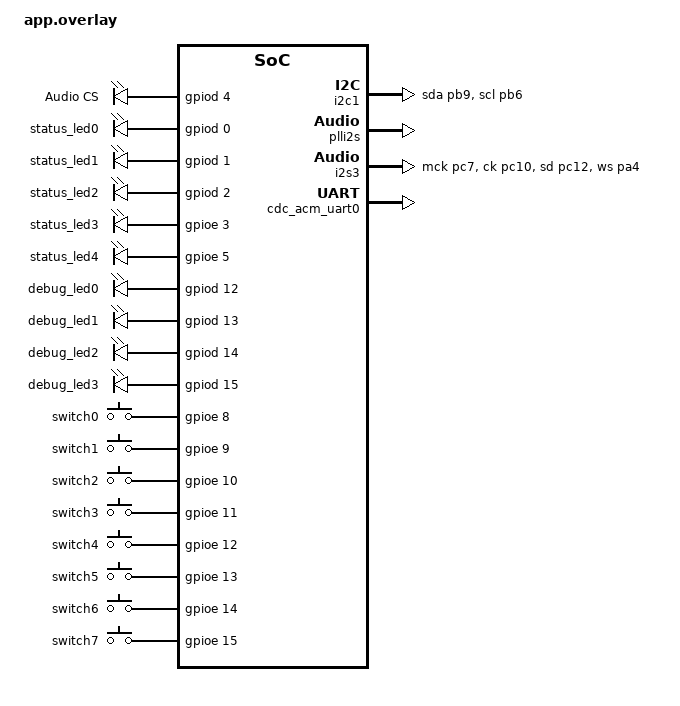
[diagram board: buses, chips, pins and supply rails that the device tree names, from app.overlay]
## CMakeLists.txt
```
cmake_minimum_required(VERSION 3.20.0)

set(BOARD stm32f4_disco)
set(CONF_FILE prj.conf)
find_package(Zephyr)
project(my_zephyr_app)

target_sources(app PRIVATE
        src/audio.cpp
        src/leds.cpp
        src/usb.c
        src/Switch.cpp
        src/key.cpp
        src/i2c.c
        src/peripherals.cpp
        src/synth.cpp
        src/main.cpp
)
```

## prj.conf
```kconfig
CONFIG_CONSOLE=y
CONFIG_I2C=y
CONFIG_I2S=y
CONFIG_NEWLIB_LIBC=y
CONFIG_STDOUT_CONSOLE=y
CONFIG_USB_DEVICE_STACK=y
CONFIG_USB_DEVICE_PRODUCT="Zephyr CDC ACM sample"
CONFIG_USB_DEVICE_PID=0x0001
CONFIG_SERIAL=y
CONFIG_UART_INTERRUPT_DRIVEN=y
CONFIG_UART_LINE_CTRL=y
CONFIG_CPP=y
CONFIG_EVENTS=y
CONFIG_CMSIS_DSP=y
CONFIG_FPU=y
CONFIG_CMSIS_DSP_TRANSFORM=y
CONFIG_CMSIS_DSP_FILTERING=y
CONFIG_SYS_CLOCK_TICKS_PER_SEC=25000
```

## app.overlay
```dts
&i2c1 {
	pinctrl-0 = <&i2c1_sda_pb9 &i2c1_scl_pb6>;
	pinctrl-names = "default";
	status = "okay";
};

/ {
	chip_selects {
		compatible = "gpio-leds";

		audio_cs: cs_0 {
			gpios = <&gpiod 4 GPIO_ACTIVE_HIGH>;
			label = "Audio CS";
		};
	};

	leds {
		compatible = "gpio-leds";

		status_led0: led_0 {
			gpios = <&gpiod 0 GPIO_ACTIVE_HIGH>;
		};

		status_led1: led_1 {
			gpios = <&gpiod 1 GPIO_ACTIVE_HIGH>;
		};

		status_led2: led_2 {
			gpios = <&gpiod 2 GPIO_ACTIVE_HIGH>;
		};

		status_led3: led_3 {
			gpios = <&gpioe 3 GPIO_ACTIVE_HIGH>;
		};

		status_led4: led_4 {
			gpios = <&gpioe 5 GPIO_ACTIVE_HIGH>;
		};

		debug_led0: led_5 {
			gpios = <&gpiod 12 GPIO_ACTIVE_HIGH>;
		};

		debug_led1: led_6 {
			gpios = <&gpiod 13 GPIO_ACTIVE_HIGH>;
		};

		debug_led2: led_7 {
			gpios = <&gpiod 14 GPIO_ACTIVE_HIGH>;
		};

		debug_led3: led_8 {
			gpios = <&gpiod 15 GPIO_ACTIVE_HIGH>;
		};
	};

	buttons {
		compatible = "gpio-keys";

		switch0: button_0 {
			gpios = <&gpioe 8 GPIO_ACTIVE_HIGH>;
		};

		switch1: button_1 {
			gpios = <&gpioe 9 GPIO_ACTIVE_HIGH>;
		};

		switch2: button_2 {
			gpios = <&gpioe 10 GPIO_ACTIVE_HIGH>;
		};

		switch3: button_3 {
			gpios = <&gpioe 11 GPIO_ACTIVE_HIGH>;
		};

		switch4: button_4 {
			gpios = <&gpioe 12 GPIO_ACTIVE_HIGH>;
		};

		switch5: button_5 {
			gpios = <&gpioe 13 GPIO_ACTIVE_HIGH>;
		};

		switch6: button_6 {
			gpios = <&gpioe 14 GPIO_ACTIVE_HIGH>;
		};

		switch7: button_7 {
			gpios = <&gpioe 15 GPIO_ACTIVE_HIGH>;
		};
	};

	aliases {
		cs0 = &audio_cs;
		status-led0 = &status_led0;
		status-led1 = &status_led1;
		status-led2 = &status_led2;
		status-led3 = &status_led3;
		status-led4 = &status_led4;
		debug-led0 = &debug_led0;
		debug-led1 = &debug_led1;
		debug-led2 = &debug_led2;
		debug-led3 = &debug_led3;
		switch0 = &switch0;
		switch1 = &switch1;
		switch2 = &switch2;
		switch3 = &switch3;
		switch4 = &switch4;
		switch5 = &switch5;
		switch6 = &switch6;
		switch7 = &switch7;
	};
};

&dma1 {
	status = "okay";
};

&plli2s {
	status = "okay";
	mul-n = <338>;
	div-r = <3>;
};

i2s_tx: &i2s3 {
	pinctrl-0 = <&i2s3_mck_pc7 &i2s3_ck_pc10 &i2s3_sd_pc12 &i2s3_ws_pa4>;
	pinctrl-names = "default";
	status = "okay";
	clocks = <&rcc STM32_CLOCK_BUS_APB1 0x00008000>,
			 <&rcc STM32_SRC_PLLI2S_R I2S_SEL(0)>;
	mck-enabled;
};

&zephyr_udc0 {
	cdc_acm_uart0 {
		compatible = "zephyr,cdc-acm-uart";
	};
};
```

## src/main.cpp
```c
/*
 * Copyright (c) 2016 Intel Corporation
 *
 * SPDX-License-Identifier: Apache-2.0
 */

#include "Switch.hpp"
#include "audio.h"
#include "key.hpp"
#include "leds.h"
#include "peripherals.h"
#include "synth.hpp"
#include "usb.h"
#include <inttypes.h>
#include <math.h>
#include <zephyr/sys/time_units.h>
#include <zephyr/kernel.h>
#include <zephyr/logging/log.h>

Synthesizer synth;
// Function that checks key presses
static void check_keyboard()
{
	char character;
	while (usbRead(&character, 1)) {
		// ////printuln("Key pressed: %c (0x%02x)", character, character);
		auto key = Key::char_to_key(character);
		bool key_pressed = false;

		for (int i = 0; i < MAX_KEYS; i++) {
			if (key == keys[i].key && keys[i].state != IDLE) {
				keys[i].state = PRESSED;
				keys[i].hold_time = sys_timepoint_calc(K_MSEC(500));
				keys[i].release_time = sys_timepoint_calc(K_MSEC(500));
				key_pressed = true;
			}
		}
		// The second loop is necessary to avoid selecting an IDLE key when a
		// PRESSED or RELEASED key is located further away on the array
		if (!key_pressed) {
			for (int i = 0; i < MAX_KEYS; i++) {
				if (keys[i].state == IDLE) {
					keys[i].key = key;
					keys[i].state = PRESSED;
					keys[i].hold_time = sys_timepoint_calc(K_MSEC(500));
					keys[i].release_time = sys_timepoint_calc(K_MSEC(500));
					keys[i].phase1 = 0;
					keys[i].phase2 = 0;
					break;
				}
			}
		}
	}
}

/*
Do we need negative priorities?
Negative priorities do not allow preemption between them.
While positive does allow for preemption.
Should T4 preemp T1-T2 as well as T3?
We should bare in mind, that while, T4 is writing to the audio device, other tasks can run
Inside audio.cpp when task 4 is writing blocks to the i2s device, the current thread
will block, which explains:
- why the LEDS will stay for such a long time
- why the other tasks will run while T4 is high(the leds) in Logic2
- which also explains why t3 cant run while t4 is blocked, because t4 is holding the
   semaphore for blockmem Why does t4 block for so long when no sound is being produced?
   - The distance between a t4 call when no keys are pressed is of around 3ms, with a
   total duration of 47ms
   - Comapred to when a key is pressed, the distance between two t4 is of around 15ms
   with a total duration of 35ms
   - What does this mean?
   Blocking time depends on when task 4 calls i2s_write() relative to the how
   long it takes to read a block, not on whether the audio. The I2S bus clocks at a fixed rate
   */
#define TASK_1_2_STACK_SIZE 2048
#define TASK_3_STACK_SIZE   1024
#define TASK_4_STACK_SIZE   1024
#define TASK_1_2_PRIORITY   1
#define TASK_3_PRIORITY     2
#define TASK_4_PRIORITY     0

K_THREAD_STACK_DEFINE(task_1_2_stack, TASK_1_2_STACK_SIZE);
K_THREAD_STACK_DEFINE(task_3_stack, TASK_3_STACK_SIZE);
K_THREAD_STACK_DEFINE(task_4_stack, TASK_4_STACK_SIZE);

static struct k_thread task_1_2_thread;
static struct k_thread task_3_thread;
static struct k_thread task_4_thread;
static k_timepoint_t expiration;

// Audio blocks passed from T3 to T4
K_MSGQ_DEFINE(audio_block_msgq, sizeof(void *), BLOCK_COUNT, sizeof(void *));

extern "C" void task_1_2_thread_entry(void *p1, void *p2, void *p3)
{
	int period = static_cast<int>(reinterpret_cast<intptr_t>(p1));
	k_msgq *q = static_cast<k_msgq*>(p2);
 	expiration = sys_timepoint_calc(K_MSEC(period));
	while (1) {

		// T1
		set_led(&debug_led0);
		peripherals_update();
		reset_led(&debug_led0);

		k_timeout_t to_exp = sys_timepoint_timeout(expiration);
		int64_t delta_ms = k_ticks_to_ms_floor64(to_exp.ticks);
		// T2
		set_led(&debug_led1);
		check_keyboard();             
		reset_led(&debug_led1);

		k_timeout_t sleep_timeout = sys_timepoint_timeout(expiration);
		int64_t sleep_us = k_ticks_to_us_floor64(sleep_timeout.ticks);
		k_sleep(K_USEC(sleep_us - 480));
		k_busy_wait(480);
		expiration = sys_timepoint_calc(K_MSEC(period));
	}
}

extern "C" void task_3_thread_entry(void *p1, void *p2, void *p3)
{
	k_msgq *audio_q = static_cast<k_msgq*>(p2);
	k_msgq *q = static_cast<k_msgq*>(p3);

	static bool overload_next = false;
	while (1) {
		k_timepoint_t frame_deadline = expiration;
		bool show_overload = overload_next;
		k_timeout_t sleep_timeout;
		uint64_t sleep_ms;

		if (show_overload) {
			set_led(&debug_led2);
		}

		void *mem_block = allocBlock();

		if (mem_block == nullptr) {
			if (show_overload) {
				reset_led(&debug_led2);
			}
			overload_next = true;
			continue;
		}

		bool overloaded = false;
		overloaded = synth.makesynth(static_cast<uint8_t *>(mem_block), frame_deadline);
		if (show_overload) {
			reset_led(&debug_led2);
		}
		overload_next = overloaded;

		k_msgq_put(audio_q, &mem_block, K_FOREVER);

		if (sys_timepoint_expired(frame_deadline)) {
			//printuln("T3 missed deadline");
		}

		sleep_timeout = sys_timepoint_timeout(expiration);
		sleep_ms = k_ticks_to_ms_floor64(sleep_timeout.ticks);
		k_sleep(sleep_timeout);
	}
}

extern "C" void task_4_thread_entry(void *p1, void *p2, void *p3)
{
	k_msgq *audio_q = static_cast<k_msgq*>(p2);
    while (1) {
		void *mem_block = nullptr;
		k_msgq_get(audio_q, &mem_block, K_FOREVER);
		set_led(&debug_led3);
		writeBlock(mem_block);
        reset_led(&debug_led3);    
	}
}

void start_threads()
{
	int period_task12_ms = BLOCK_GEN_PERIOD_MS;
	int period_task3_ms = BLOCK_GEN_PERIOD_MS;

	k_thread_create(&task_1_2_thread, task_1_2_stack, K_THREAD_STACK_SIZEOF(task_1_2_stack),
			task_1_2_thread_entry,
			reinterpret_cast<void *>(static_cast<intptr_t>(period_task12_ms)), 
			nullptr, nullptr, TASK_1_2_PRIORITY, 0, K_NO_WAIT);

	k_thread_create(&task_3_thread, task_3_stack, K_THREAD_STACK_SIZEOF(task_3_stack),
			task_3_thread_entry,
			reinterpret_cast<void *>(static_cast<intptr_t>(period_task3_ms)), &audio_block_msgq,
			nullptr, TASK_3_PRIORITY, 0, K_NO_WAIT);
		

	k_thread_create(&task_4_thread, task_4_stack, K_THREAD_STACK_SIZEOF(task_4_stack),
			task_4_thread_entry,
			reinterpret_cast<void *>(static_cast<intptr_t>(10)), &audio_block_msgq,
			nullptr, TASK_4_PRIORITY, 0, K_NO_WAIT);
}

int main(void)
{
	initUsb();
	waitForUsb();

	//printuln("== Initializing... ==");

	init_leds();
	initAudio();
	init_peripherals();

	synth.initialize();

	// Buffer for writing to audio driver

	//printuln("== Finished initialization ==");

	int64_t time = k_uptime_get();
	int state = 0;
	/*
		Task Priorities:
		T4, always something being sent to the ampliefier
			Period
		T2, Latency when pressing a key should be minimal
		T1, Polling peripherals is not time critical
		T3, Synth generation can take some time, but not critical
	*/
	start_threads();
    k_thread_join(&task_1_2_thread,  K_FOREVER);
    k_thread_join(&task_3_thread,    K_FOREVER);
    k_thread_join(&task_4_thread,    K_FOREVER);

	return 0;
}
```

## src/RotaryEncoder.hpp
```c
#ifndef __ROTARY_ENCODER_H__
#define __ROTARY_ENCODER_H__

#include "usb.h"
#include <errno.h>

class RotaryEncoder {
public:
  // Encoder's callback type definition, called when the encoder changes its
  // state
  typedef void (*re_callback)(RotaryEncoder &encoder);

  /// @brief Encoder's constructor
  /// @param id encoder's ID, from 0 to N_ENCODERS
  /// @param pin_0 initialization value of pin 0
  /// @param pin_1 initialization value of pin 0
  /// @param absolute_value absolute initialization value
  /// @param callback the callback that is called when the encoder changes its
  /// state. Default: no callback
  RotaryEncoder(uint8_t id, unsigned int pin_0, unsigned int pin_1,
                int absolute_value = 0, re_callback callback = nullptr)
      : _id{id}, _pin_0{pin_0}, _pin_1{pin_1}, _absolute_value{absolute_value},
        _callback{callback} {}

  /// @brief Default encoder's constructor
  RotaryEncoder()
      : _id{0}, _pin_0{0}, _pin_1{0}, _absolute_value{0}, _callback{nullptr} {}

  /// @brief Encoder initialization function
  /// Call this function during initialization before calling the rest of the
  /// fuctions if you have used the default constuctor
  /// @param id encoder's ID, from 0 to N_ENCODERS
  /// @param pin_0 initialization value of pin 0
  /// @param pin_1 initialization value of pin 1
  /// @param absolute_value absolute initialization value
  /// @param callback the callback that is called when the encoder changes its
  /// state. Default: no callback
  void initialize(uint8_t id, unsigned int pin_0, unsigned int pin_1,
                  re_callback callback = nullptr) {
    _id = id;
    _pin_0 = pin_0;
    _pin_1 = pin_1;
    _callback = callback;
  }

  /// @brief Reset to 0 the encoder's absolute value
  void reset() { _absolute_value = 0; }

  /// @brief Get the encoder's absolute value
  /// @return the encoder's absolute value
  int get_state() { return _absolute_value; }

  /// @brief Get the encoder's absolute value
  /// @param state he encoder's new absolute value
  void set_state(int state) { _absolute_value = state; }

  /// @brief Clamp and set the new absolute value
  /// @param state the new absolute value
  /// @param min minimum clamping value
  /// @param max maximum clamping value
  void set_state_clamped(int state, int min, int max) {
    int tmp = state;

    if (tmp > max) {
      tmp = max;
    } else if (tmp < min) {
      tmp = min;
    }

    _absolute_value = tmp;
  }

  /// @brief Get the encoder's pin 0 value
  /// @return the encoder's pin 0 value
  unsigned int get_pin0() { return _pin_0; }

  /// @brief Get the encoder's pin 1 value
  /// @return the encoder's pin 1 value
  unsigned int get_pin1() { return _pin_1; }

  /// @brief Set the encoder's callback
  /// @param callback the encoder's callback
  void set_callback(re_callback callback) { _callback = callback; }

  /// @brief Set a new value for pin 0
  /// @param pin_0
  /// @return 0 on success, -ERRNO otherwise
  int update_pin_0(int pin_0) { return update(pin_0, _pin_1); }

  /// @brief Set a new value for pin 1
  /// @param pin_1
  /// @return 0 on success, -ERRNO otherwise
  int update_pin_1(int pin_1) { return update(_pin_0, pin_1); }

  /// @brief Update the encoder's state
  /// @param pin_0
  /// @param pin_1
  /// @return 0 on success, -ERRNO otherwise
  int update(unsigned int pin_0, unsigned int pin_1) {
    // Check for invalid state
    if (((pin_0 != _pin_0) && (pin_1 != _pin_1)) || pin_0 > 1 || pin_1 > 1) {
      return -EINVAL;
    } else if ((pin_0 == _pin_0) && (pin_1 == _pin_1)) {
      return 0;
    }

    int past_value = _pin_0 + _pin_1 * 2;
    int new_value = pin_0 + pin_1 * 2;
    _pin_0 = pin_0;
    _pin_1 = pin_1;

    // Update the state machine
    switch (past_value) {
    case 0:
      if (new_value == 1)
        _absolute_value++;
      else if (new_value == 2)
        _absolute_value--;
      break;
    case 1:
      if (new_value == 3)
        _absolute_value++;
      else if (new_value == 0)
        _absolute_value--;
      break;
    case 2:
      if (new_value == 0)
        _absolute_value++;
      else if (new_value == 3)
        _absolute_value--;
      break;
    case 3:
      if (new_value == 2)
        _absolute_value++;
      else if (new_value == 1)
        _absolute_value--;
      break;
    default:
      break;
    }

    if (_callback != nullptr)
      _callback(*this);

    return 0;
  }

public:
  uint8_t _id;
  unsigned int _pin_0;
  unsigned int _pin_1;
  int _absolute_value;
  re_callback _callback;
};

#endif // __ROTARY_ENCODER_H__
```

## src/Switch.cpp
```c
#include "Switch.hpp"
#include "usb.h"

#include <zephyr/drivers/gpio.h>

bool get_button(const struct gpio_dt_spec *button)
{
	return gpio_pin_get_dt(button);
}

int ThreePosSwitch::initialize(const struct gpio_dt_spec *up, const struct gpio_dt_spec *down,
			       sw3_callback callback)
{
	_callback = callback;
	_up = up;
	_down = down;

	// Configure the first GPIO
	if (!gpio_is_ready_dt(_up)) {
		printuln("GPIO up was not ready.");
		return -1;
	}
	gpio_pin_configure_dt(_up, GPIO_INPUT | GPIO_PULL_UP);

	// Configure the second GPIO
	if (!gpio_is_ready_dt(_down)) {
		printuln("GPIO down was not ready.");
		return -1;
	}
	gpio_pin_configure_dt(_down, GPIO_INPUT | GPIO_PULL_UP);

	return 0;
}

void ThreePosSwitch::update()
{
	// Get the new state
	bool up = gpio_pin_get_dt(_up);
	bool dn = gpio_pin_get_dt(_down);
	if (up == dn) {
		_current_state = Neutral;
	} else if (up) {
		_current_state = Up;
	} else {
		_current_state = Down;
	}

	// If the state is different, call the callback
	if (_current_state != _previous && _callback != nullptr) {
		printuln("Switch state changed.");
		_callback(*this);
	}

	// Update the invariant
	_previous = _current_state;
}
```

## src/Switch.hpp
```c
#ifndef __BUTTONS_H__
#define __BUTTONS_H__

enum ThreeWaySwitchState { Down = -1, Neutral = 0, Up = 1 };

class ThreePosSwitch {
public:
  // Switch's callback type definition, called when the switch changes its state
  typedef void (*sw3_callback)(ThreePosSwitch &sw);

  /// @brief Default constructor
  ThreePosSwitch()
      : _current_state{Neutral}, _previous{Neutral}, _callback{nullptr},
        _up{nullptr}, _down{nullptr} {}

  /// @brief Switch's initialization function
  /// Call this function during initialization before calling the rest of the
  /// fuctions
  /// @param up up pin hardware handler
  /// @param down down pin hardware handler
  /// @param callback the callback that is called when the switch changes its
  /// state. Default: no callback
  /// @return 0 on success, -ERRNO otherwise
  int initialize(const struct gpio_dt_spec *up, const struct gpio_dt_spec *down,
                 sw3_callback callback = nullptr);

  /// @brief Switch update function.
  void update();

  ThreeWaySwitchState _current_state;
  ThreeWaySwitchState _previous;
  sw3_callback _callback;
  const struct gpio_dt_spec *_up;
  const struct gpio_dt_spec *_down;
};

#endif // __BUTTONS_H__
```

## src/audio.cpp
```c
#include "audio.h"
#include "usb.h"
#include <inttypes.h>
#include <errno.h>
#include <stdint.h>
#include <string.h>
#include <zephyr/drivers/gpio.h>
#include <zephyr/drivers/i2c.h>
#include <zephyr/drivers/i2s.h>
#include <zephyr/kernel.h>
#include <zephyr/logging/log.h>

#define I2S_TX_NODE DT_NODELABEL(i2s_tx)
K_MEM_SLAB_DEFINE(mem_slab, BLOCK_SIZE, BLOCK_COUNT, BYTES_PER_SAMPLE);

/* 1000 msec = 1 sec */
#define SLEEP_TIME_MS 1000

/* The devicetree node identifier for the "led0" alias. */
#define LED0_NODE DT_ALIAS(led0)
#define AUDIO_CS  DT_ALIAS(cs0)

static const struct gpio_dt_spec cs = GPIO_DT_SPEC_GET(AUDIO_CS, gpios);
const struct device *const i2s_dev_tx = DEVICE_DT_GET(I2S_TX_NODE);
static bool i2s_started;

static int read(uint8_t devaddr, uint8_t regaddr, uint8_t *regval)
{
	int ret;

	const struct device *dev = DEVICE_DT_GET(DT_NODELABEL(i2c1));

	if (!device_is_ready(dev)) {
		printuln("Device not ready");
		return -ENODEV;
	}

	ret = i2c_write_read(dev, devaddr, &regaddr, 1, regval, 1);
	if (ret) {
		printuln("Call `i2c_write_read` failed: %d", ret);
		return ret;
	}

	return 0;
}

static int write(uint8_t devaddr, uint8_t regaddr, uint8_t regval)
{
	int ret;

	const struct device *dev = DEVICE_DT_GET(DT_NODELABEL(i2c1));

	if (!device_is_ready(dev)) {
		printuln("Device not ready");
		return -ENODEV;
	}

	uint8_t buf[2] = {regaddr, regval};

	ret = i2c_write(dev, buf, 2, devaddr);
	if (ret) {
		printuln("Call `i2c_write` failed: %d", ret);
		return ret;
	}

	return 0;
}

int restart_i2s_if_needed(void *mem_block)
{
	
	i2s_trigger(i2s_dev_tx, I2S_DIR_TX, I2S_TRIGGER_PREPARE);
	k_mem_slab_free(&mem_slab, mem_block);
	void *stub_block0 = nullptr;
	void *stub_block1 = nullptr;
	int alloc_ret0 = k_mem_slab_alloc(&mem_slab, &stub_block0, K_NO_WAIT);
	int alloc_ret1 = k_mem_slab_alloc(&mem_slab, &stub_block1, K_NO_WAIT);

	int ret0 = i2s_write(i2s_dev_tx, stub_block0, BLOCK_SIZE);
	if (ret0 < 0) {
		printuln("Failed to write stub block 0: %d", ret0);
		k_mem_slab_free(&mem_slab, stub_block0);
		k_mem_slab_free(&mem_slab, stub_block1);
	}
	int ret1 = i2s_write(i2s_dev_tx, stub_block1, BLOCK_SIZE);
	if (ret1 < 0) {
		printuln("Failed to write stub block 1: %d", ret1);
		i2s_trigger(i2s_dev_tx, I2S_DIR_TX, I2S_TRIGGER_DROP);
		k_mem_slab_free(&mem_slab, stub_block1);
	}

	int start_ret = i2s_trigger(i2s_dev_tx, I2S_DIR_TX, I2S_TRIGGER_START);
	if (start_ret < 0) {
		printuln("Failed to start I2S: %d", start_ret);
		i2s_trigger(i2s_dev_tx, I2S_DIR_TX, I2S_TRIGGER_DROP);
		i2s_started = false;
		return 0;
	}
	i2s_started = true;
	return 0;
}


void *allocBlock()
{
	void *mem_block;
	// printuln("[SLAB] free blocks: %u", k_mem_slab_num_free_get(&mem_slab));
	int ret = k_mem_slab_alloc(&mem_slab, &mem_block, K_MSEC(BLOCK_GEN_PERIOD_MS));
	if (ret < 0) {
		i2s_started = false;
		// printuln("Failed to allocate TX block: %d\n", ret);
		return nullptr;
	}
	return mem_block;
}

int initAudio()
{
	int ret;

	// Initialize CS gpio pin
	if (!gpio_is_ready_dt(&cs)) {
		printuln("CS gpio pin was not ready.");
		return ret;
	}
	ret = gpio_pin_configure_dt(&cs, GPIO_OUTPUT_ACTIVE);
	if (ret < 0) {
		printuln("Failed to configure CS gpio pin.");
		return ret;
	}
	ret = gpio_pin_set_dt(&cs, 1);
	if (ret < 0) {
		printuln("Failed to set CS gpio pin to 1.");
		return ret;
	}

	ret = 0;
	ret |= write(0x4A, 0x02, 0x01); // power save registers -> all on
	ret |= write(0x4A, 0x00, 0x99);
	ret |= write(0x4A, 0x47, 0x80);     // inits
	ret |= write(0x4A, 0x0d, 0x03);     // playback ctrl
	ret |= write(0x4A, 0x32, (1 << 7)); // vol
	ret |= write(0x4A, 0x32, (0 << 7)); // vol
	ret |= write(0x4A, 0x00, 0x00);     // inits
	ret |= write(0x4A, 0x04, 0xaf);     // power ctrl
	ret |= write(0x4A, 0x0d, 0x70);
	ret |= write(0x4A, 0x05,
		     0x81); // clocking: auto speed is determined by the MCLK/LRCK ratio.
	ret |= write(0x4A, 0x06, 0x07); // DAC interface format, I²S 16 bit
	ret |= write(0x4A, 0x0a, 0x00);
	ret |= write(0x4A, 0x27, 0x00);
	ret |= write(0x4A, 0x80, 0x0a); // both channels on
	ret |= write(0x4A, 0x1f, 0x0f);
	ret |= write(0x4A, 0x22, 4 - 80);
	ret |= write(0x4A, 0x23, 4 - 80); // limit headphone volume
	ret |= write(0x4A, 0x02, 0x9e);
	if (ret < 0) {
		printuln("Failed to write config over i2c.");
		return ret;
	}

	ret = setVolume(80);
	if (ret < 0) {
		printuln("Failed to set initial volume");
	}

	struct i2s_config config;

	if (!device_is_ready(i2s_dev_tx)) {
		printuln("%s is not ready\n", i2s_dev_tx->name);
		return -1;
	}

	config.word_size = SAMPLE_BIT_WIDTH;
	config.channels = NUMBER_OF_CHANNELS;
	config.format = I2S_FMT_DATA_FORMAT_I2S;
	config.options = I2S_OPT_BIT_CLK_MASTER | I2S_OPT_FRAME_CLK_MASTER;
	config.frame_clk_freq = SAMPLE_FREQUENCY / 2;
	config.mem_slab = &mem_slab;
	config.block_size = BLOCK_SIZE;
	config.timeout = TIMEOUT;

	ret = i2s_configure(i2s_dev_tx, I2S_DIR_TX, &config);
	if (ret < 0) {
		printuln("Failed to configure TX stream: %d\n", ret);
		return -1;
	}
	i2s_started = false;

	if (ret < 0) {
		printuln("Failed to trigger I2S start: %d", ret);
	}

	printuln("Audio driver initialization finished!");
	return 0;
}

int setVolume(uint8_t volumeValue)
{
	int8_t vol;
	if (volumeValue > 100) {
		volumeValue = 100;
	}
	// strange mapping, see datasheet
	// vol=25; // -102 dB
	// vol=24  // +12dB

	vol = -90 + (float)80 * volumeValue / 100;

	int ret = 0;
	ret |= write(0x4A, 0x20, vol);
	ret |= write(0x4A, 0x21, vol);
	if (ret < 0) {
		printuln("Failed to set volume.");
		return -1;
	}
	return 0;
}

int writeBlock(void *mem_block)
{
	if (!i2s_started) { // This is to start but also reset I2S incase we underran or crashed
		return restart_i2s_if_needed(mem_block);
	}

	int ret = i2s_write(i2s_dev_tx, mem_block, BLOCK_SIZE);
	if (ret < 0) {
		i2s_started = false;
		k_mem_slab_free(&mem_slab, mem_block);
		return 0;
	}
	return 0;

}

void flushAudioBuffers()
{
	i2s_trigger(i2s_dev_tx, I2S_DIR_TX, I2S_TRIGGER_DROP);
	i2s_started = false;
}
```

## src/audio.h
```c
#ifndef AUDIO_H
#define AUDIO_H

#include <stdint.h>
#include <zephyr/kernel.h>

/**
 * I2S driver configuration constants
 */
#define SAMPLE_FREQUENCY 44100
#define SAMPLE_BIT_WIDTH 16
#define BYTES_PER_SAMPLE sizeof(int16_t)
#define NUMBER_OF_CHANNELS 1

#define TIMEOUT 1000

/**
 * Constants for configuring memory slab used as buffer for I2S driver
 */
// Want to generate a block of audio samples every 50 ms = 0.05 
#define BLOCK_GEN_PERIOD_MS 30

// How many samples we can produce within the block generation period given
// the sampling frequency
#define SAMPLES_PER_BLOCK                                                      \
  ((SAMPLE_FREQUENCY * BLOCK_GEN_PERIOD_MS / 1000) * NUMBER_OF_CHANNELS)

// how large the audio block can be to fill it within the block generation
// period
#define BLOCK_SIZE (BYTES_PER_SAMPLE * SAMPLES_PER_BLOCK)

// the number of audio blocks to use
#define BLOCK_COUNT (2)

// Expose the audio slab for direct access (allocated in audio.cpp)
extern struct k_mem_slab mem_slab;

/// @brief Audio initialization function
/// Call this function before you call any other function from this library
/// @return 0 on success, -ERRNO otherwise
int initAudio();

/// @brief Set the output volume/amplitude of the audio amplifier
/// @param volumeValue volume value, from 0 to 255
/// @return 0 on success, -ERRNO otherwise
int setVolume(uint8_t volumeValue);

/// @brief Initialize the audio buffers
void *allocBlock();

/// @brief Write one of the buffers to the audio amplifier
/// Note: this is accomplished asynchronously through a DMA request
/// @param mem_block the audio buffer
/// @return 0 on success, -ERRNO otherwise
int writeBlock(void *mem_block);

void flushAudioBuffers();

#endif
```

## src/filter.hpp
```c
#include <math.h>
#include <stdint.h>

#define PI (3.14159265358979323846)

// Filter discrete cut-off frequencies, 96-entry LUT
const float CUTOFF_FREQUENCIES_96[] = {
    0.,       20.000,   20.993,   22.036,   23.131,   24.280,   25.485,
    26.751,   28.080,   29.475,   30.939,   32.476,   34.089,   35.782,
    37.559,   39.425,   41.383,   43.438,   45.596,   47.861,   50.238,
    52.733,   55.352,   58.102,   60.987,   64.017,   67.196,   70.534,
    74.037,   77.715,   81.575,   85.627,   89.880,   94.344,   99.030,
    103.949,  109.112,  114.531,  120.220,  126.191,  132.459,  139.039,
    145.945,  153.194,  160.803,  168.790,  177.173,  185.973,  195.211,
    204.907,  215.084,  225.768,  236.981,  248.752,  261.108,  274.077,
    287.690,  301.979,  316.979,  332.723,  349.249,  366.596,  384.805,
    403.918,  423.980,  445.039,  467.144,  490.347,  514.703,  540.268,
    567.103,  595.270,  624.837,  655.873,  688.450,  722.645,  758.538,
    796.214,  835.762,  877.274,  920.848,  966.586,  1014.596, 1064.991,
    1117.888, 1173.413, 1231.696, 1292.874, 1357.091, 1424.497, 1495.251,
    1569.520, 1647.477, 1729.307, 1815.201, 1905.361, 2000.000,
};

// Filter discrete cut-off frequencies, 48-entry LUT
// const float CUTOFF_FREQUENCIES_48[] = {
//   20.000, 22.059, 24.330, 26.834,
//   29.597, 32.643, 36.004, 39.710,
//   43.798, 48.307, 53.280, 58.765,
//   64.814, 71.486, 78.845, 86.962,
//   95.914, 105.787, 116.678, 128.689,
//   141.936, 156.548, 172.663, 190.438,
//   210.042, 231.665, 255.513, 281.816,
//   310.827, 342.825, 378.117, 417.041,
//   459.973, 507.324, 559.549, 617.151,
//   680.683, 750.755, 828.040, 913.281,
//   1007.297, 1110.992, 1225.361, 1351.504,
//   1490.632, 1644.083, 1813.330, 2000.000,
// };

// Implements second-order Butterworth low-pass filter
class Filter {
public:
  float _cutoff_freq;    // cutoff frequency of the LPF in Hz
  int _cutoff_enc;       // cutoff frequency encoder state
  float _resonance_freq; // TODO: implement
  int _resonance_enc;

private:
  // Frequency at which the LPF is sampled
  float sampling_freq;

  // Windows for the previous inputs and outputs
  float prev_sample[2] = {0, 0}; // x(n-1), x(n-2)
  float prev_output[2] = {0, 0}; // y(n-1), y(n-2)

  // Coefficients for the 2nd order Butterworth
  float a[3] = {0., 0., 0.}; // input sample coefficients
  float b[2] = {0., 0.};     // previous output sample coefficients

  /// @brief Update the filter coefficients from the encoder values
  /// Internal function called by the encoder's callback
  void update_coefficients() {
    // float K1 = sqrtf(2) * _cutoff_freq;
    // float K2 = powf(_cutoff_freq, 2);

    // a[0] = K2 / (1.0 + K1 + K2);
    // a[1] = 2 * a[0];
    // a[2] = a[0];

    // float K3 = a[1] / K2;

    // b[0] = -a[1] + K3;
    // b[1] = 1 - a[1] - K3;

    // float norm_freq = _cutoff_freq / sampling_freq;

    float ita = 1.0 / tanf(PI * _cutoff_freq);
    float q = sqrtf(2);

    a[0] = 1.0 / (1.0 + (q * ita) + (ita * ita));
    a[1] = 2 * a[0];
    a[2] = a[0];

    b[0] = 2.0 * ((ita * ita) - 1.0) * a[0];
    b[1] = -(1.0 - (q * ita) + (ita * ita)) * a[0];
  }

public:
  /// @brief Sound filter constructor
  /// @param sampling_freq TODO
  /// @param cutoff_freq TODO
  Filter(float sampling_freq, float cutoff_freq) {
    this->sampling_freq = sampling_freq;
    this->_cutoff_enc = 0;
    this->_resonance_enc = 0;
    set_cutoff_freq(cutoff_freq);
  }

  // Applies the filter and updates the sampling window
  float filter(float curr_sample) {
    float y = a[0] * curr_sample + a[1] * prev_sample[0] +
              a[2] * prev_sample[1] + b[0] * prev_output[0] +
              b[1] * prev_output[1];

    // update sample window
    prev_sample[1] = prev_sample[0];
    prev_sample[0] = curr_sample;
    prev_output[1] = prev_output[0];
    prev_output[0] = y;

    return y;
  }

  /// @brief Sets the filter's cut-off frequency
  /// @param cutoff the filter's cut-off frequency
  void set_cutoff_freq(float cutoff) {
    // convert from Hz to rad/sec
    // float corrected_cutoff = (1 / (2*sampling_freq)) - cutoff;

    // Normalize the cutoff frequency to the sampling frequency
    _cutoff_freq = cutoff / sampling_freq;
    update_coefficients();
  }

  /// @brief Sets the filter's resonance frequency
  /// @param cutoff the filter's resonance frequency
  void set_resonance_freq(float res) { _resonance_freq = res; }
};
```

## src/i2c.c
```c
#include <stdint.h>
#include <zephyr/drivers/i2c.h>

int read(uint8_t devaddr, uint8_t regaddr, uint8_t *regval) {
  int ret;

  const struct device *dev = DEVICE_DT_GET(DT_NODELABEL(i2c1));

  if (!device_is_ready(dev)) {
    printk("Device not ready");
    return -ENODEV;
  }

  ret = i2c_write_read(dev, devaddr, &regaddr, 1, regval, 1);
  if (ret) {
    printk("Call `i2c_write_read` failed: %d", ret);
    return ret;
  }

  return 0;
}

static int write(uint8_t devaddr, uint8_t regaddr, uint8_t regval) {
  int ret;

  const struct device *dev = DEVICE_DT_GET(DT_NODELABEL(i2c1));

  if (!device_is_ready(dev)) {
    printk("Device not ready");
    return -ENODEV;
  }

  uint8_t buf[2] = {regaddr, regval};

  ret = i2c_write(dev, buf, 2, devaddr);
  if (ret) {
    printk("Call `i2c_write` failed: %d", ret);
    return ret;
  }

  return 0;
}
```

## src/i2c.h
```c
#include <stdint.h>

/// @brief Read a byte from a device, syntactic sugar
/// @param devaddr the peripheral device's address
/// @param regaddr the device's register address
/// @param regval the address where this function will write the read value
/// @return 0 on success, -ERRNO otherwise
int read(uint8_t devaddr, uint8_t regaddr, uint8_t *regval);

/// @brief Write a byte from a device, syntactic sugar
/// @param devaddr the peripheral device's address
/// @param regaddr the device's register address
/// @param regval the value to write to the device
/// @return 0 on success, -ERRNO otherwise
int write(uint8_t devaddr, uint8_t regaddr, uint8_t regval);
```

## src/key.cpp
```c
#include "key.hpp"

Key keys[MAX_KEYS];

/*
 *  s d   g h j
 * z x c v b n m ,
 * | | | | | | | |
 * C D E F G A B C
 */
key_t Key::char_to_key(char c) {
  switch (c) {
  case ';':
    return E4;
  case 'p':
    return Dh4;
  case 'l':
    return D4;
  case 'o':
    return Ch4;
  case 'k':
    return C4;
  case 'j':
    return B4;
  case 'u':
    return Bb4;
  case 'h':
    return A4;
  case 'y':
    return Ab3;
  case 'g':
    return G3;
  case 't':
    return Fh3;
  case 'f':
    return F3;
  case 'd':
    return E3;
  case 'e':
    return Dh3;
  case 's':
    return D3;
  case 'w':
    return Ch3;
  case 'a':
    return C3;
  default:
    return A3;
  }
}

float Key::get_freq() {
  switch (key) {
  case A3:
    return 200.0;
  case Bb3:
    return 233.08;
  case B3:
    return 246.94;
  case C3:
    return 261.626;
  case Ch3:
    return 277.183;
  case D3:
    return 293.665;
  case Dh3:
    return 311.127;
  case E3:
    return 329.628;
  case F3:
    return 349.228;
  case Fh3:
    return 369.994;
  case G3:
    return 391.995;
  case Ab3:
    return 415.305;
  case A4:
    return 440.000;
  case Bb4:
    return 466.164;
  case B4:
    return 493.883;
  case C4:
    return 523.251;
  default:
    return 0.;
  }
}
```

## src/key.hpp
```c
#ifndef __KEY_H_H_
#define __KEY_H_H_

#include <stdint.h>
#include <zephyr/kernel.h>

typedef enum {
  A3,
  Bb3,
  B3,
  C3,
  Ch3,
  D3,
  Dh3,
  E3,
  F3,
  Fh3,
  G3,
  Ab3,
  A4,
  Bb4,
  B4,
  C4,
  Ch4,
  D4,
  Dh4,
  E4,
} key_t;

/// @brief The state of a key
typedef enum { IDLE, PRESSED, RELEASED } key_state_t;

/// @brief Maximum number of keys. Space allocated at compile time.
const uint8_t MAX_KEYS = 4;

class Key {
public:
  /// @brief Key constructor
  Key()
      : state{IDLE}, key{A3}, hold_time{sys_timepoint_calc(K_FOREVER)},
        release_time{sys_timepoint_calc(K_FOREVER)}, elapsed_hold{0.0},
        elapsed_release{0.0}, phase1{0}, phase2{0} {}

  /// @brief Generate key_t struct from keyboard input
  /// @param c the keyboard input
  /// @return keyboard key
  static key_t char_to_key(char c);

  /// @brief Get the frequency of this specific key
  /// @return this key's frequency
  float get_freq();

  key_state_t state;
  key_t key;
  uint16_t phase1;
  uint16_t phase2;
  k_timepoint_t hold_time;
  k_timepoint_t release_time;
  float elapsed_hold;
  float elapsed_release;
};

extern Key keys[MAX_KEYS];

struct keys_buffer {
  Key keys[MAX_KEYS];
};

#endif // __KEY_H__
```

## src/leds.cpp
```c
#include "leds.h"
#include "usb.h"
#include <zephyr/drivers/gpio.h>
#include <zephyr/kernel.h>
#include <zephyr/logging/log.h>

const struct gpio_dt_spec debug_led0 =
    GPIO_DT_SPEC_GET(DT_ALIAS(debug_led0), gpios);
const struct gpio_dt_spec debug_led1 =
    GPIO_DT_SPEC_GET(DT_ALIAS(debug_led1), gpios);
const struct gpio_dt_spec debug_led2 =
    GPIO_DT_SPEC_GET(DT_ALIAS(debug_led2), gpios);
const struct gpio_dt_spec debug_led3 =
    GPIO_DT_SPEC_GET(DT_ALIAS(debug_led3), gpios);

const struct gpio_dt_spec status_led0 =
    GPIO_DT_SPEC_GET(DT_ALIAS(status_led0), gpios);
const struct gpio_dt_spec status_led1 =
    GPIO_DT_SPEC_GET(DT_ALIAS(status_led1), gpios);
const struct gpio_dt_spec status_led2 =
    GPIO_DT_SPEC_GET(DT_ALIAS(status_led2), gpios);
const struct gpio_dt_spec status_led3 =
    GPIO_DT_SPEC_GET(DT_ALIAS(status_led3), gpios);
const struct gpio_dt_spec status_led4 =
    GPIO_DT_SPEC_GET(DT_ALIAS(status_led4), gpios);

static const struct gpio_dt_spec *leds[] = {
    &debug_led0,  &debug_led1,  &debug_led2,  &debug_led3, &status_led0,
    &status_led1, &status_led2, &status_led3, &status_led4};

int init_leds() {
  for (int i = 0; i < N_LEDS; i++) {
    const struct gpio_dt_spec *led = leds[i];
    if (!gpio_is_ready_dt(led)) {
      printk("GPIO led was not ready.");
      return -1;
    }

    gpio_pin_configure_dt(led, GPIO_OUTPUT_ACTIVE);
    gpio_pin_set_dt(led, false);
  }

  for (int i = 0; i < N_LEDS; i++) {
    reset_led(leds[i]);
  }
  printuln("LED initialization finished!");
  return 0;
}

int set_led(const struct gpio_dt_spec *led) {
  gpio_pin_set_dt(led, true);
  return 0;
}

int reset_led(const struct gpio_dt_spec *led) {
  gpio_pin_set_dt(led, false);
  return 0;
}
```

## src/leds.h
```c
#ifndef LEDS_H
#define LEDS_H

#define N_LEDS (9)
/**
 * On-board LEDs that can be probed on the STM board pins
 * Section 6.3:
 * https://www.st.com/resource/en/user_manual/dm00039084-discovery-kit-with-stm32f407vg-mcu-stmicroelectronics.pdf
 */
// green LED
extern const struct gpio_dt_spec debug_led0;
// orange LED
extern const struct gpio_dt_spec debug_led1;
// red LED
extern const struct gpio_dt_spec debug_led2;
// blue LED
extern const struct gpio_dt_spec debug_led3;

// Status LEDs on the peripherals board
extern const struct gpio_dt_spec status_led0;
extern const struct gpio_dt_spec status_led1;
extern const struct gpio_dt_spec status_led2;
extern const struct gpio_dt_spec status_led3;
extern const struct gpio_dt_spec status_led4;

/// @brief LEDs initialization function
/// Call it before using the LEDs
/// @return 0 on success, -ERRNO otherwise
int init_leds();

/// @brief Turn on a specific LED
/// @param led to turn on
/// @return 0 on success, -ERRNO otherwise
int set_led(const struct gpio_dt_spec *led);

/// @brief Turn off a specific LED
/// @param led to turn on
/// @return 0 on success, -ERRNO otherwise
int reset_led(const struct gpio_dt_spec *led);

#endif // LEDS_H
```
